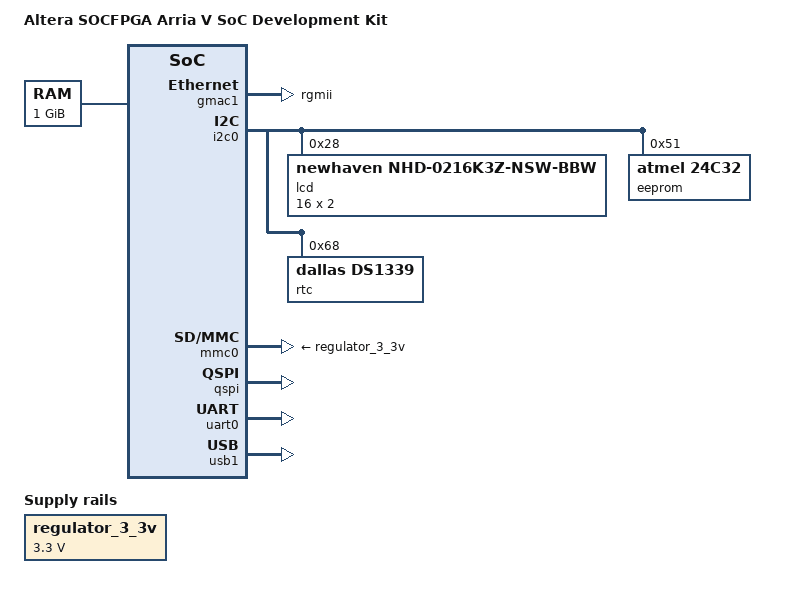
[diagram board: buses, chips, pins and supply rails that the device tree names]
/*
 *  Copyright (C) 2013 Altera Corporation <www.altera.com>
 *
 * This program is free software; you can redistribute it and/or modify
 * it under the terms of the GNU General Public License as published by
 * the Free Software Foundation; either version 2 of the License, or
 * (at your option) any later version.
 *
 * This program is distributed in the hope that it will be useful,
 * but WITHOUT ANY WARRANTY; without even the implied warranty of
 * MERCHANTABILITY or FITNESS FOR A PARTICULAR PURPOSE.  See the
 * GNU General Public License for more details.
 *
 * You should have received a copy of the GNU General Public License
 * along with this program.  If not, see <http://www.gnu.org/licenses/>.
 */

#include "socfpga_arria5.dtsi"

/ {
	model = "Altera SOCFPGA Arria V SoC Development Kit";
	compatible = "altr,socfpga-arria5", "altr,socfpga";

	chosen {
		bootargs = "console=ttyS0,115200";
	};

	memory {
		name = "memory";
		device_type = "memory";
		reg = <0x0 0x40000000>; /* 1GB */
	};

	aliases {
		/* this allow the ethaddr uboot environmnet variable contents
		* to be added to the gmac1 device tree blob.
		*/
		ethernet0 = &gmac1;
	};

	regulator_3_3v: 3-3-v-regulator {
		compatible = "regulator-fixed";
		regulator-name = "3.3V";
		regulator-min-microvolt = <3300000>;
		regulator-max-microvolt = <3300000>;
	};
};

&gmac1 {
	status = "okay";
	phy-mode = "rgmii";

	rxd0-skew-ps = <0>;
	rxd1-skew-ps = <0>;
	rxd2-skew-ps = <0>;
	rxd3-skew-ps = <0>;
	txen-skew-ps = <0>;
	txc-skew-ps = <2600>;
	rxdv-skew-ps = <0>;
	rxc-skew-ps = <2000>;
};

&gpio0 {
	status = "okay";
};

&gpio1 {
	status = "okay";
};

&gpio2 {
	status = "okay";
};

&i2c0 {
	status = "okay";
	speed-mode = <0>;

	/*
	 * adjust the falling times to decrease the i2c frequency to 50Khz
	 * because the LCD module does not work at the standard 100Khz
	 */
	i2c-sda-falling-time-ns = <5000>;
	i2c-scl-falling-time-ns = <5000>;

	lcd: lcd@28 {
		compatible = "newhaven,nhd-0216k3z-nsw-bbw";
		reg = <0x28>;
		height = <2>;
		width = <16>;
		brightness = <8>;
	};

	eeprom@51 {
		compatible = "atmel,24c32";
		reg = <0x51>;
		pagesize = <32>;
	};

	rtc@68 {
		compatible = "dallas,ds1339";
		reg = <0x68>;
	};
};

&mmc0 {
	vmmc-supply = <&regulator_3_3v>;
	vqmmc-supply = <&regulator_3_3v>;
};

&qspi {
	status = "okay";
};

&uart0 {
	status = "okay";
};

&usb1 {
	status = "okay";
};
